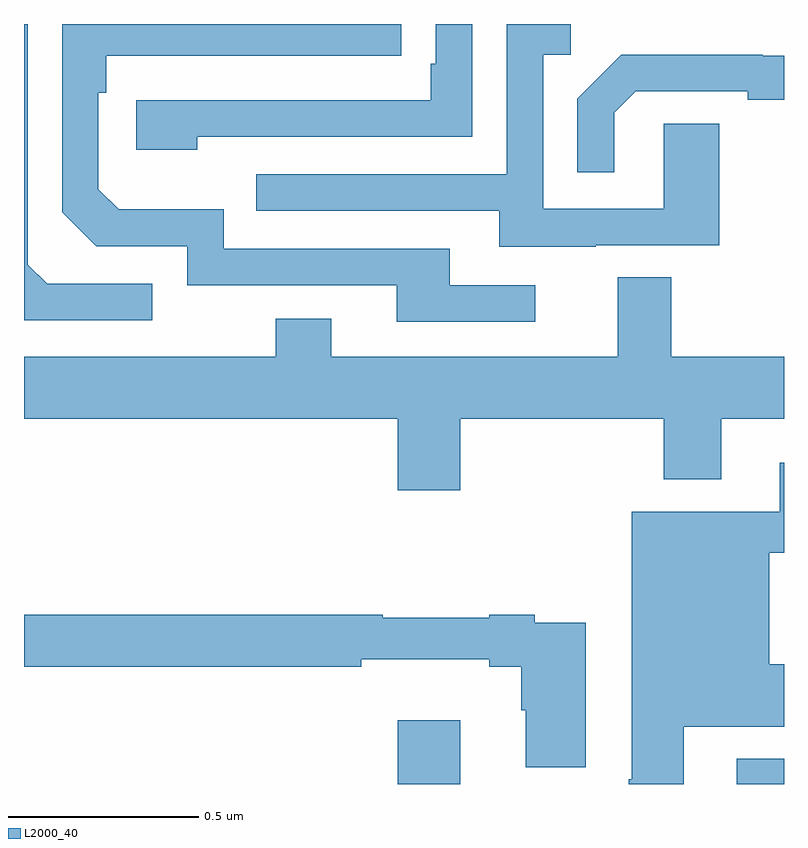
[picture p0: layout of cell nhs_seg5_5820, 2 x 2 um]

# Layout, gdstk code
import gdstk
lib = gdstk.Library(unit=1e-6, precision=1e-09)
def R(c, l, rs):  # rectangles x0, y0, x1, y1
    for r in rs: c.add(gdstk.rectangle(r[:2], r[2:], *l))
def P(c, l, *ps):  # polygons
    for p in ps: c.add(gdstk.Polygon(p, *l))
L2000_40 = (2000, 40)

nhs_seg5_5820 = lib.new_cell('nhs_seg5_5820')
R(nhs_seg5_5820, L2000_40, [(188.984,855.799,189.148,855.967), (189.875,855.799,190,855.865)])
P(nhs_seg5_5820, L2000_40, [(188.456,857.502),(189.18,857.502),(189.18,857.799),(189.084,857.799),(189.084,857.695),(189.071,857.695),(189.071,857.598),(188.295,857.598),(188.295,857.468),(188.456,857.468)],
  [(188.338,857.115),(188.061,857.115),(188.01,857.166),(188.01,857.799),(188,857.799),(188,857.02),(188.001,857.019),(188.338,857.019)],
  [(189.346,857.112),(189.121,857.112),(189.121,857.208),(188.526,857.208),(188.526,857.311),(188.249,857.311),(188.196,857.364),(188.196,857.618),(188.216,857.618),(188.216,857.715),(188.891,857.715),(188.891,857.716),(188.993,857.716),(188.993,857.799),(188.1,857.799),(188.1,857.304),(188.19,857.214),(188.43,857.214),(188.43,857.112),(188.981,857.112),(188.981,857.016),(189.346,857.016)],
  [(189.505,857.217),(189.829,857.217),(189.829,857.537),(189.684,857.537),(189.684,857.313),(189.366,857.313),(189.366,857.718),(189.439,857.718),(189.439,857.799),(189.27,857.799),(189.27,857.403),(188.611,857.403),(188.611,857.307),(189.251,857.307),(189.251,857.213),(189.505,857.213)],
  [(189.553,857.565),(189.61,857.622),(189.905,857.622),(189.905,857.6),(190,857.6),(190,857.715),(189.944,857.715),(189.944,857.718),(189.572,857.718),(189.456,857.602),(189.456,857.409),(189.553,857.409)],
  [(188.809,857.023),(188.662,857.023),(188.662,856.924),(188,856.924),(188,856.76),(188.984,856.76),(188.984,856.572),(189.148,856.572),(189.148,856.76),(189.683,856.76),(189.683,856.601),(189.835,856.601),(189.835,856.76),(190,856.76),(190,856.924),(189.703,856.924),(189.703,857.132),(189.563,857.132),(189.563,856.924),(188.809,856.924)],
  [(189.736,855.95),(190,855.95),(190,856.114),(189.961,856.114),(189.961,856.407),(190,856.407),(190,856.645),(189.989,856.645),(189.989,856.516),(189.599,856.516),(189.599,855.811),(189.592,855.811),(189.592,855.799),(189.736,855.799)],
  [(189.478,856.224),(189.344,856.224),(189.344,856.244),(189.224,856.244),(189.224,856.237),(188.944,856.237),(188.944,856.244),(188,856.244),(188,856.108),(188.888,856.108),(188.888,856.127),(189.224,856.127),(189.224,856.108),(189.308,856.108),(189.308,855.993),(189.32,855.993),(189.32,855.843),(189.478,855.843)])

lib.write_gds('nhs_seg5_5820.gds')
